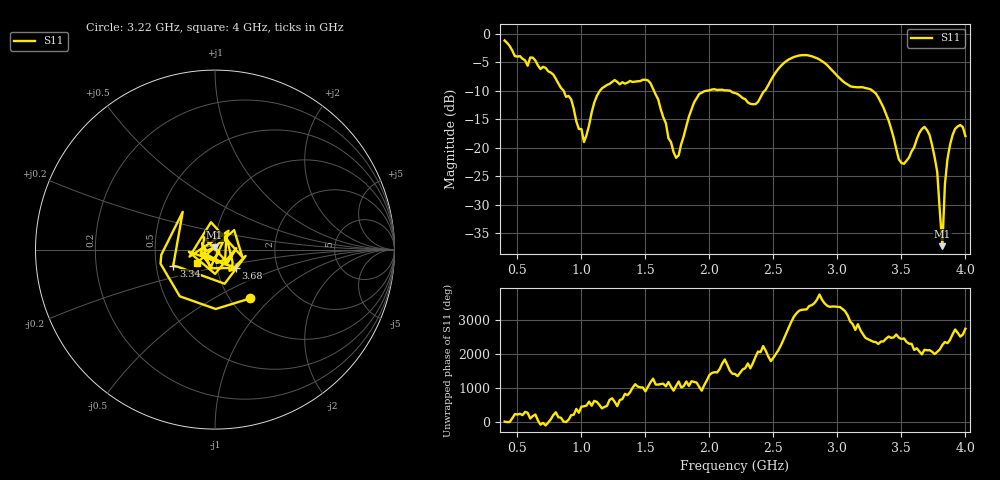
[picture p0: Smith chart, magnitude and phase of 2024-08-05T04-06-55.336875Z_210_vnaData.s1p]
!Created with skrf (http://scikit-rf.org).
# Hz S RI R 50.0
!freq ReS11 ImS11
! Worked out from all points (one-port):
!   181 points, 400 MHz to 4 GHz, reference 50 ohm
!   lowest |S11| = -37.2 dB at 3.82 GHz (marker M1), VSWR 1.03, Z = 49.7 + j1.34 ohm
!   |S11| at or under -10 dB: 861.2 MHz to 1.144 GHz (283.1 MHz wide, 28.2 % of centre); 1.567 GHz to 1.973 GHz (405.3 MHz wide, 22.9 % of centre); 3.275 GHz to end of sweep (the widest 3 of 4)
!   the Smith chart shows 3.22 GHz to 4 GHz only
!   S11 on the Smith chart (normalised r, x): 3.22 GHz: 1.23, -0.75; 3.34 GHz: 0.61, -0.12; 3.68 GHz: 1.23, -0.25; 4 GHz: 0.81, -0.12
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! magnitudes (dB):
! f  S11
! 400 MHz  -1.2
! 860 MHz  -9.9
! 920 MHz  -11.5
! 1.02 GHz  -19.0
! 1.14 GHz  -10.1
! 1.3 GHz  -8.9
! 1.54 GHz  -8.7
! 1.72 GHz  -20.7
! 1.76 GHz  -21.3
! 1.84 GHz  -14.5
! 1.92 GHz  -10.5
! 2.2 GHz  -10.4
! 2.36 GHz  -12.3
! 2.66 GHz  -4.1
! 2.86 GHz  -4.5
! 3.1 GHz  -9.2
! 3.22 GHz  -9.5
! 3.34 GHz  -12.0
! 3.48 GHz  -22.0
! 3.56 GHz  -21.7
! 3.68 GHz  -16.3
! 3.72 GHz  -17.7
! 3.78 GHz  -24.2
! 3.82 GHz  -37.2
! 3.84 GHz  -26.4
! 3.88 GHz  -19.5
! 3.94 GHz  -16.2
! 4 GHz  -17.9
